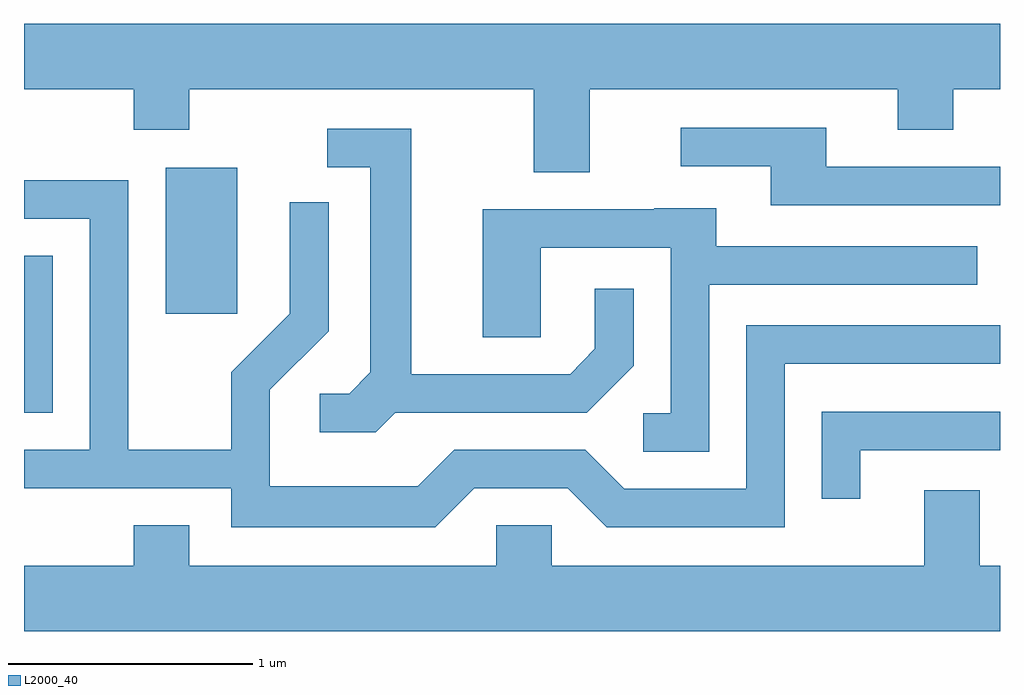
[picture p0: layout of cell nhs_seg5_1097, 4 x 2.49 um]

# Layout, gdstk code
import gdstk
lib = gdstk.Library(unit=1e-6, precision=1e-09)
def R(c, l, rs):  # rectangles x0, y0, x1, y1
    for r in rs: c.add(gdstk.rectangle(r[:2], r[2:], *l))
def P(c, l, *ps):  # polygons
    for p in ps: c.add(gdstk.Polygon(p, *l))
L2000_40 = (2000, 40)

nhs_seg5_1097 = lib.new_cell('nhs_seg5_1097')
R(nhs_seg5_1097, L2000_40, [(217.611,1435.491,217.729,1436.134), (218.191,1435.896,218.484,1436.494)])
P(nhs_seg5_1097, L2000_40, [(219.929,1436.816),(221.191,1436.816),(221.191,1436.651),(221.419,1436.651),(221.419,1436.816),(221.611,1436.816),(221.611,1437.084),(217.611,1437.084),(217.611,1436.816),(218.061,1436.816),(218.061,1436.651),(218.289,1436.651),(218.289,1436.816),(219.701,1436.816),(219.701,1436.476),(219.929,1436.476)],
  [(221.611,1436.499),(220.899,1436.499),(220.899,1436.659),(220.303,1436.659),(220.303,1436.501),(220.671,1436.501),(220.671,1436.341),(221.611,1436.341)],
  [(219.132,1435.491),(219.917,1435.491),(220.109,1435.684),(220.109,1435.998),(219.951,1435.998),(219.951,1435.752),(219.849,1435.649),(219.199,1435.649),(219.199,1436.654),(218.853,1436.654),(218.853,1436.496),(219.031,1436.496),(219.031,1435.657),(218.944,1435.569),(218.823,1435.569),(218.823,1435.411),(219.052,1435.411)],
  [(219.457,1435.181),(219.839,1435.181),(219.999,1435.021),(220.729,1435.021),(220.729,1435.691),(221.611,1435.691),(221.611,1435.849),(220.571,1435.849),(220.571,1435.179),(220.072,1435.179),(219.912,1435.339),(219.374,1435.339),(219.224,1435.189),(218.619,1435.189),(218.619,1435.584),(218.859,1435.824),(218.859,1436.353),(218.701,1436.353),(218.701,1435.897),(218.461,1435.657),(218.461,1435.339),(218.039,1435.339),(218.039,1436.444),(217.611,1436.444),(217.611,1436.286),(217.881,1436.286),(217.881,1435.339),(217.611,1435.339),(217.611,1435.181),(218.461,1435.181),(218.461,1435.021),(219.297,1435.021)],
  [(220.419,1436.016),(221.518,1436.016),(221.518,1436.174),(220.449,1436.174),(220.449,1436.329),(220.195,1436.329),(220.195,1436.324),(219.491,1436.324),(219.491,1435.801),(219.729,1435.801),(219.729,1436.166),(220.261,1436.166),(220.261,1435.489),(220.148,1435.489),(220.148,1435.331),(220.419,1435.331)],
  [(221.039,1435.336),(221.611,1435.336),(221.611,1435.494),(220.881,1435.494),(220.881,1435.138),(221.039,1435.138)],
  [(221.611,1434.864),(221.529,1434.864),(221.529,1435.174),(221.301,1435.174),(221.301,1434.864),(219.774,1434.864),(219.774,1435.029),(219.546,1435.029),(219.546,1434.864),(218.289,1434.864),(218.289,1435.029),(218.061,1435.029),(218.061,1434.864),(217.611,1434.864),(217.611,1434.596),(221.611,1434.596)])

lib.write_gds('nhs_seg5_1097.gds')
